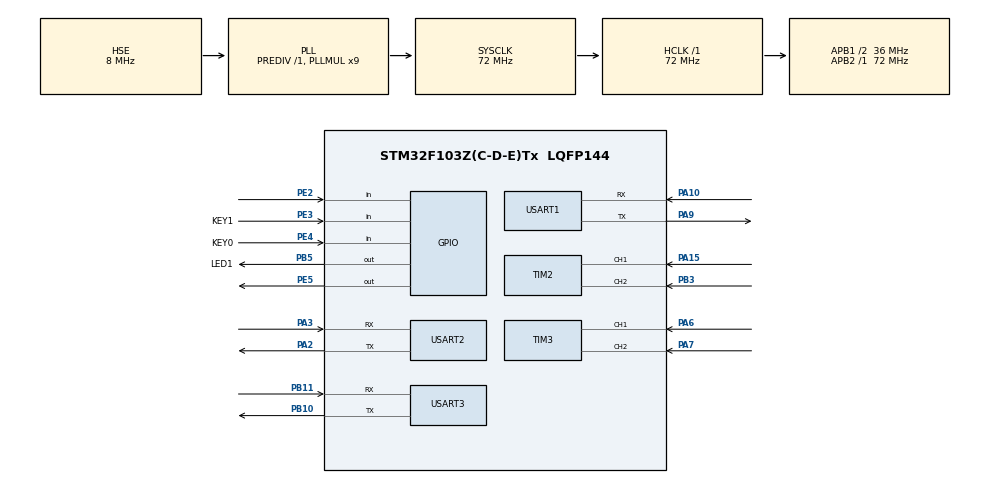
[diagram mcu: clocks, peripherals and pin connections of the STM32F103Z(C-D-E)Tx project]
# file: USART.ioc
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FREERTOS.Tasks01=Init_Task,2,128,Init_Function,Default,NULL,Dynamic,NULL,NULL;LED_Task,-3,128,LED_Function,Default,NULL,Dynamic,NULL,NULL;myTaskKEY,-3,128,StartTaskKEY,Default,NULL,Dynamic,NULL,NULL
Mcu.Family=STM32F1
Mcu.Name=STM32F103Z(C-D-E)Tx
Mcu.Package=LQFP144
NVIC.PriorityGroup=NVIC_PRIORITYGROUP_4
NVIC.TIM1_UP_IRQn=true\:15\:0\:false\:false\:true\:false\:false\:true
NVIC.TIM2_IRQn=true\:5\:0\:false\:false\:true\:true\:true\:true
NVIC.TIM3_IRQn=true\:5\:0\:false\:false\:true\:true\:true\:true
NVIC.TIM4_IRQn=true\:5\:0\:false\:false\:true\:true\:true\:true
NVIC.TimeBase=TIM1_UP_IRQn
NVIC.TimeBaseIP=TIM1
NVIC.USART1_IRQn=true\:5\:0\:false\:false\:true\:true\:true\:true
NVIC.USART2_IRQn=true\:5\:0\:false\:false\:true\:true\:true\:true
NVIC.USART3_IRQn=true\:5\:0\:false\:false\:true\:true\:true\:true
OSC_IN.Mode=HSE-External-Oscillator
OSC_IN.Signal=RCC_OSC_IN
OSC_OUT.Mode=HSE-External-Oscillator
OSC_OUT.Signal=RCC_OSC_OUT
PA10.Mode=Asynchronous
PA10.Signal=USART1_RX
PA13.Mode=Serial_Wire
PA13.Signal=SYS_JTMS-SWDIO
PA14.Mode=Serial_Wire
PA14.Signal=SYS_JTCK-SWCLK
PA15.Signal=S_TIM2_CH1_ETR
PA2.Mode=Asynchronous
PA2.Signal=USART2_TX
PA3.Mode=Asynchronous
PA3.Signal=USART2_RX
PA6.Signal=S_TIM3_CH1
PA7.Signal=S_TIM3_CH2
PA9.Mode=Asynchronous
PA9.Signal=USART1_TX
PB10.Mode=Asynchronous
PB10.Signal=USART3_TX
PB11.Mode=Asynchronous
PB11.Signal=USART3_RX
PB3.Signal=S_TIM2_CH2
PB5.GPIO_Label=LED1
PB5.Signal=GPIO_Output
PE2.Signal=GPIO_Input
PE3.GPIO_Label=KEY1
PE3.GPIO_PuPd=GPIO_PULLUP
PE3.Signal=GPIO_Input
PE4.GPIO_Label=KEY0
PE4.GPIO_PuPd=GPIO_PULLUP
PE4.Signal=GPIO_Input
PE5.Signal=GPIO_Output
ProjectManager.HeapSize=0x200
ProjectManager.StackSize=0x400
ProjectManager.TargetToolchain=MDK-ARM V5.32
RCC.AHBFreq_Value=72000000
RCC.APB1CLKDivider=RCC_HCLK_DIV2
RCC.APB1Freq_Value=36000000
RCC.APB1TimFreq_Value=72000000
RCC.APB2Freq_Value=72000000
RCC.APB2TimFreq_Value=72000000
RCC.HCLKFreq_Value=72000000
RCC.PLLMUL=RCC_PLL_MUL9
RCC.PLLSourceVirtual=RCC_PLLSOURCE_HSE
RCC.SYSCLKFreq_VALUE=72000000
RCC.SYSCLKSource=RCC_SYSCLKSOURCE_PLLCLK
RCC.USBFreq_Value=72000000
SH.S_TIM2_CH1_ETR.0=TIM2_CH1,Encoder_Interface
SH.S_TIM2_CH2.0=TIM2_CH2,Encoder_Interface
SH.S_TIM3_CH1.0=TIM3_CH1,Encoder_Interface
SH.S_TIM3_CH2.0=TIM3_CH2,Encoder_Interface
TIM2.EncoderMode=TIM_ENCODERMODE_TI12
TIM2.IC1Filter=10
TIM2.IC2Filter=10
TIM3.EncoderMode=TIM_ENCODERMODE_TI12
TIM3.IC1Filter=10
TIM3.IC2Filter=10
TIM4.Period=7199
TIM4.Prescaler=99
USART1.VirtualMode=VM_ASYNC
USART2.VirtualMode=VM_ASYNC
USART3.VirtualMode=VM_ASYNC
VP_FREERTOS_VS_CMSIS_V1.Mode=CMSIS_V1
VP_SYS_VS_tim1.Mode=TIM1
VP_TIM4_VS_ClockSourceINT.Mode=Internal
board=custom

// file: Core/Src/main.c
/* USER CODE BEGIN Header */
/**
  ******************************************************************************
  * @file           : main.c
  * @brief          : Main program body
  ******************************************************************************
  * @attention
  *
  * Copyright (c) 2023 STMicroelectronics.
  * All rights reserved.
  *
  * This software is licensed under terms that can be found in the LICENSE file
  * in the root directory of this software component.
  * If no LICENSE file comes with this software, it is provided AS-IS.
  *
  ******************************************************************************
  */
/* USER CODE END Header */
#include "main.h"
#include "cmsis_os.h"

void SystemClock_Config(void);
void MX_FREERTOS_Init(void);

int main(void)
{

  /* MCU Configuration--------------------------------------------------------*/

  /* Reset of all peripherals, Initializes the Flash interface and the Systick. */
  HAL_Init();

  /* Configure the system clock */
  SystemClock_Config();

  /* Initialize all configured peripherals */
  MX_GPIO_Init();
  MX_USART1_UART_Init();
  MX_USART2_UART_Init();
  MX_USART3_UART_Init();
  MX_TIM2_Init();
  MX_TIM3_Init();
  MX_TIM4_Init();

  /* Call init function for freertos objects (in freertos.c) */
  MX_FREERTOS_Init();
  /* Start scheduler */
  osKernelStart();

  /* We should never get here as control is now taken by the scheduler */
  /* Infinite loop */
  while (1)
  {

  }
}

void SystemClock_Config(void)
{
  RCC_OscInitTypeDef RCC_OscInitStruct = {0};
  RCC_ClkInitTypeDef RCC_ClkInitStruct = {0};

  /** Initializes the RCC Oscillators according to the specified parameters
  * in the RCC_OscInitTypeDef structure.
  */
  RCC_OscInitStruct.OscillatorType = RCC_OSCILLATORTYPE_HSE;
  RCC_OscInitStruct.HSEState = RCC_HSE_ON;
  RCC_OscInitStruct.HSEPredivValue = RCC_HSE_PREDIV_DIV1;
  RCC_OscInitStruct.HSIState = RCC_HSI_ON;
  RCC_OscInitStruct.PLL.PLLState = RCC_PLL_ON;
  RCC_OscInitStruct.PLL.PLLSource = RCC_PLLSOURCE_HSE;
  RCC_OscInitStruct.PLL.PLLMUL = RCC_PLL_MUL9;
  if (HAL_RCC_OscConfig(&RCC_OscInitStruct) != HAL_OK)
  {
    Error_Handler();
  }
  /** Initializes the CPU, AHB and APB buses clocks
  */
  RCC_ClkInitStruct.ClockType = RCC_CLOCKTYPE_HCLK|RCC_CLOCKTYPE_SYSCLK
                              |RCC_CLOCKTYPE_PCLK1|RCC_CLOCKTYPE_PCLK2;
  RCC_ClkInitStruct.SYSCLKSource = RCC_SYSCLKSOURCE_PLLCLK;
  RCC_ClkInitStruct.AHBCLKDivider = RCC_SYSCLK_DIV1;
  RCC_ClkInitStruct.APB1CLKDivider = RCC_HCLK_DIV2;
  RCC_ClkInitStruct.APB2CLKDivider = RCC_HCLK_DIV1;

  if (HAL_RCC_ClockConfig(&RCC_ClkInitStruct, FLASH_LATENCY_2) != HAL_OK)
  {
    Error_Handler();
  }
}

/* USER CODE BEGIN 4 */
int cnt=0;
long x;
float y;

/* USER CODE END 4 */

void HAL_TIM_PeriodElapsedCallback(TIM_HandleTypeDef *htim)
{
  if (htim->Instance == TIM1)
	{
    HAL_IncTick();
  }
	if (htim->Instance == TIM4)
	{
			TIM4->SR&=~(1<<0);//清除定时器4的计时标志，执行完TIM2中断服务函数里的操作后定时器会重新计时
		cnt++;
		if(cnt==20)
		{
			cnt=0;
			Encoder_Right=Read_Speed(3);  //编码器读出来的数据就是反馈回来的电机角度.
			Add_Encoder_Right+=Encoder_Right;
			x=Encoder_Cnt_Location(Add_Encoder_Right);
			y=Motp_Speed(Encoder_Right);
			my_printf(1,"weiyi:%d\r\n",x);
			my_printf(1,"rpm:%f\r\n",y);
			my_printf(1,"Add_encoder:%d\r\n", Add_Encoder_Right);   //串口打印编码器值

		}

  }

}

void Error_Handler(void)
{
  __disable_irq();
  while (1)
  {
  }
}

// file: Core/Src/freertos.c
/* USER CODE BEGIN Header */
/**
  ******************************************************************************
  * File Name          : freertos.c
  * Description        : Code for freertos applications
  ******************************************************************************
  * @attention
  *
  * Copyright (c) 2023 STMicroelectronics.
  * All rights reserved.
  *
  * This software is licensed under terms that can be found in the LICENSE file
  * in the root directory of this software component.
  * If no LICENSE file comes with this software, it is provided AS-IS.
  *
  ******************************************************************************
  */
/* USER CODE END Header */

#include "FreeRTOS.h"
#include "task.h"
#include "main.h"
#include "cmsis_os.h"

osThreadId Init_TaskHandle;
osThreadId LED_TaskHandle;
osThreadId myTaskKEYHandle;

void Init_Function(void const * argument);
void LED_Function(void const * argument);
void StartTaskKEY(void const * argument);

void MX_FREERTOS_Init(void); /* (MISRA C 2004 rule 8.1) */

/* GetIdleTaskMemory prototype (linked to static allocation support) */
void vApplicationGetIdleTaskMemory( StaticTask_t **ppxIdleTaskTCBBuffer, StackType_t **ppxIdleTaskStackBuffer, uint32_t *pulIdleTaskStackSize );

/* USER CODE BEGIN GET_IDLE_TASK_MEMORY */
static StaticTask_t xIdleTaskTCBBuffer;
static StackType_t xIdleStack[configMINIMAL_STACK_SIZE];

void vApplicationGetIdleTaskMemory( StaticTask_t **ppxIdleTaskTCBBuffer, StackType_t **ppxIdleTaskStackBuffer, uint32_t *pulIdleTaskStackSize )
{
  *ppxIdleTaskTCBBuffer = &xIdleTaskTCBBuffer;
  *ppxIdleTaskStackBuffer = &xIdleStack[0];
  *pulIdleTaskStackSize = configMINIMAL_STACK_SIZE;
  /* place for user code */
}
/* USER CODE END GET_IDLE_TASK_MEMORY */

void MX_FREERTOS_Init(void) {

  /* Create the thread(s) */
  /* definition and creation of Init_Task */
  osThreadDef(Init_Task, Init_Function, osPriorityHigh, 0, 128);
  Init_TaskHandle = osThreadCreate(osThread(Init_Task), NULL);

  /* definition and creation of LED_Task */
  osThreadDef(LED_Task, LED_Function, osPriorityIdle, 0, 128);
  LED_TaskHandle = osThreadCreate(osThread(LED_Task), NULL);

  /* definition and creation of myTaskKEY */
  osThreadDef(myTaskKEY, StartTaskKEY, osPriorityIdle, 0, 128);
  myTaskKEYHandle = osThreadCreate(osThread(myTaskKEY), NULL);

}

void Init_Function(void const * argument)
{
  /* USER CODE BEGIN Init_Function */
  /* Infinite loop */
  for(;;)
  {
		taskENTER_CRITICAL(); //进入临界区
		HAL_UART_Receive_IT(&huart1, (uint8_t *)&aRxBuffer, 1);   //再开启接收中断

		Encoder_Start();
		HAL_TIM_Base_Start_IT(&htim4);
		vTaskDelete(NULL);
		taskEXIT_CRITICAL();            //退出临界区
  }
  /* USER CODE END Init_Function */
}

void LED_Function(void const * argument)
{
  /* USER CODE BEGIN LED_Function */
  /* Infinite loop */
  for(;;)
  {
		if(led_flag==1)
		{
			LED1=0;
			osDelay(500);
			LED1=1;
			osDelay(500);
			u1_printf("led1\r\n");
		}
		else if(led_flag==2)
		{
			LED2_ON();
			HAL_Delay(500);
			LED2_OFF();
			HAL_Delay(500);
			u1_printf("led2\r\n");
		}
    osDelay(1);
  }
  /* USER CODE END LED_Function */
}

void StartTaskKEY(void const * argument)
{
  /* USER CODE BEGIN StartTaskKEY */
  /* Infinite loop */
  for(;;)
  {
	  uint8_t key=KEY_Scan();
	  if(key)
	  {
		  if(key==1)
		  {
			  led_flag=1;
		  }
		  else if(key==2)
		  {
			  led_flag=2;
		  }
	  }
    osDelay(1);
  }
  /* USER CODE END StartTaskKEY */
}
